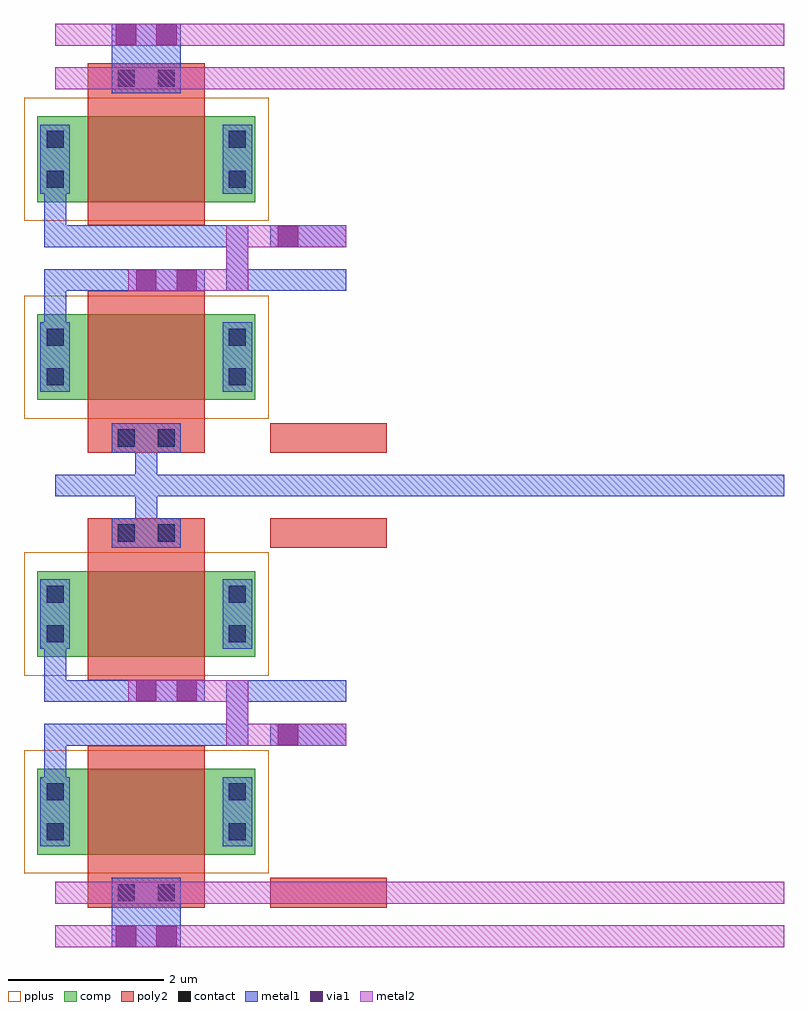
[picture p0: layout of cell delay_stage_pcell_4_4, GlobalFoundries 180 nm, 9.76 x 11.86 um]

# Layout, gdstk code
import gdstk
lib = gdstk.Library(unit=1e-6, precision=5e-09)
def R(c, l, rs):  # rectangles x0, y0, x1, y1
    for r in rs: c.add(gdstk.rectangle(r[:2], r[2:], *l))
comp = (22, 0)
poly2 = (30, 0)
pplus = (31, 0)
contact = (33, 0)
metal1 = (34, 0)
via1 = (35, 0)
metal2 = (36, 0)

delay_stage_pcell_1_1 = lib.new_cell('delay_stage_pcell_1$1')
R(delay_stage_pcell_1_1, comp, [(0.17,0.3,0.63,1.4), (0.63,0.3,2.51,1.4), (2.51,0.3,2.97,1.4)])
R(delay_stage_pcell_1_1, poly2, [(0.82,0,2.32,1.7)])
R(delay_stage_pcell_1_1, pplus, [(0,0.06,3.14,1.64)])
R(delay_stage_pcell_1_1, contact, [(0.29,0.485,0.51,0.705), (2.63,0.485,2.85,0.705), (0.29,0.995,0.51,1.215), (2.63,0.995,2.85,1.215)])
R(delay_stage_pcell_1_1, metal1, [(0.21,0.405,0.59,1.295), (2.55,0.405,2.93,1.295)])

delay_stage_pcell_4_4 = lib.new_cell('delay_stage_pcell_4_4')
R(delay_stage_pcell_4_4, poly2, [(0.82,0.51,2.32,0.89), (0.82,0.51,2.32,0.89), (3.16,0.51,4.66,0.89), (3.16,0.51,4.66,0.89), (0.82,5.13,2.32,5.51), (0.82,5.13,2.32,5.51), (3.16,5.13,4.66,5.51), (3.16,5.13,4.66,5.51), (0.82,6.35,2.32,6.73), (0.82,6.35,2.32,6.73), (3.16,6.35,4.66,6.73), (3.16,6.35,4.66,6.73), (0.82,10.97,2.32,11.35), (0.82,10.97,2.32,11.35)])
R(delay_stage_pcell_4_4, contact, [(1.205,0.59,1.425,0.81), (1.205,0.59,1.425,0.81), (1.715,0.59,1.935,0.81), (1.715,0.59,1.935,0.81), (1.205,5.21,1.425,5.43), (1.205,5.21,1.425,5.43), (1.715,5.21,1.935,5.43), (1.715,5.21,1.935,5.43), (1.205,6.43,1.425,6.65), (1.205,6.43,1.425,6.65), (1.715,6.43,1.935,6.65), (1.715,6.43,1.935,6.65), (1.205,11.05,1.425,11.27), (1.205,11.05,1.425,11.27), (1.715,11.05,1.935,11.27), (1.715,11.05,1.935,11.27)])
R(delay_stage_pcell_4_4, metal1, [(1.125,0,2.015,0.89), (1.125,0,2.015,0.89), (1.125,5.13,2.015,5.51), (1.125,6.35,2.015,6.73), (1.125,6.35,2.015,6.73), (1.125,10.97,2.015,11.86), (1.125,10.97,2.015,11.86)])
R(delay_stage_pcell_4_4, via1, [(1.18,0.01,1.44,0.27), (1.18,0.01,1.44,0.27), (1.7,0.01,1.96,0.27), (1.7,0.01,1.96,0.27), (3.26,2.6,3.52,2.86), (3.26,2.6,3.52,2.86), (1.44,3.16,1.7,3.42), (1.44,3.16,1.7,3.42), (1.96,3.16,2.22,3.42), (1.96,3.16,2.22,3.42), (1.44,8.44,1.7,8.7), (1.44,8.44,1.7,8.7), (1.96,8.44,2.22,8.7), (1.96,8.44,2.22,8.7), (3.26,9,3.52,9.26), (3.26,9,3.52,9.26), (1.18,11.59,1.44,11.85), (1.18,11.59,1.44,11.85), (1.7,11.59,1.96,11.85), (1.7,11.59,1.96,11.85)])
delay_stage_pcell_4_4.add(gdstk.FlexPath([(0.4,2.185),(0.4,2.73),(1.34,2.73)], 0.28, ends="flush", simple_path=True, layer=34, datatype=0))  # metal1
delay_stage_pcell_4_4.add(gdstk.FlexPath([(0.4,2.185),(0.4,2.73),(1.34,2.73)], 0.28, ends="flush", simple_path=True, layer=34, datatype=0))  # metal1
delay_stage_pcell_4_4.add(gdstk.FlexPath([(1.34,2.73),(2.74,2.73),(2.74,3.29),(4.14,3.29)], 0.28, ends="flush", simple_path=True, layer=34, datatype=0))  # metal1
delay_stage_pcell_4_4.add(gdstk.FlexPath([(1.34,2.73),(2.74,2.73),(2.74,3.29),(4.14,3.29)], 0.28, ends="flush", simple_path=True, layer=34, datatype=0))  # metal1
delay_stage_pcell_4_4.add(gdstk.FlexPath([(3.16,2.73),(4.14,2.73)], 0.28, ends="flush", simple_path=True, layer=34, datatype=0))  # metal1
delay_stage_pcell_4_4.add(gdstk.FlexPath([(3.16,2.73),(4.14,2.73)], 0.28, ends="flush", simple_path=True, layer=34, datatype=0))  # metal1
delay_stage_pcell_4_4.add(gdstk.FlexPath([(1.34,3.29),(2.32,3.29)], 0.28, ends="flush", simple_path=True, layer=34, datatype=0))  # metal1
delay_stage_pcell_4_4.add(gdstk.FlexPath([(1.34,3.29),(2.32,3.29)], 0.28, ends="flush", simple_path=True, layer=34, datatype=0))  # metal1
delay_stage_pcell_4_4.add(gdstk.FlexPath([(0.4,3.835),(0.4,3.29),(1.34,3.29)], 0.28, ends="flush", simple_path=True, layer=34, datatype=0))  # metal1
delay_stage_pcell_4_4.add(gdstk.FlexPath([(0.4,3.835),(0.4,3.29),(1.34,3.29)], 0.28, ends="flush", simple_path=True, layer=34, datatype=0))  # metal1
delay_stage_pcell_4_4.add(gdstk.FlexPath([(0.4,5.93),(9.76,5.93)], 0.28, ends="flush", simple_path=True, layer=34, datatype=0))  # metal1
delay_stage_pcell_4_4.add(gdstk.FlexPath([(0.4,8.025),(0.4,8.57),(1.34,8.57)], 0.28, ends="flush", simple_path=True, layer=34, datatype=0))  # metal1
delay_stage_pcell_4_4.add(gdstk.FlexPath([(0.4,9.675),(0.4,9.13),(1.34,9.13)], 0.28, ends="flush", simple_path=True, layer=34, datatype=0))  # metal1
delay_stage_pcell_4_4.add(gdstk.FlexPath([(1.34,9.13),(2.74,9.13),(2.74,8.57),(4.14,8.57)], 0.28, ends="flush", simple_path=True, layer=34, datatype=0))  # metal1
delay_stage_pcell_4_4.add(gdstk.FlexPath([(1.34,8.57),(2.32,8.57)], 0.28, ends="flush", simple_path=True, layer=34, datatype=0))  # metal1
delay_stage_pcell_4_4.add(gdstk.FlexPath([(3.16,9.13),(4.14,9.13)], 0.28, ends="flush", simple_path=True, layer=34, datatype=0))  # metal1
delay_stage_pcell_4_4.add(gdstk.FlexPath([(3.16,9.13),(4.14,9.13)], 0.28, ends="flush", simple_path=True, layer=34, datatype=0))  # metal1
delay_stage_pcell_4_4.add(gdstk.FlexPath([(1.34,8.57),(2.32,8.57)], 0.28, ends="flush", simple_path=True, layer=34, datatype=0))  # metal1
delay_stage_pcell_4_4.add(gdstk.FlexPath([(1.34,9.13),(2.74,9.13),(2.74,8.57),(4.14,8.57)], 0.28, ends="flush", simple_path=True, layer=34, datatype=0))  # metal1
delay_stage_pcell_4_4.add(gdstk.FlexPath([(0.4,9.675),(0.4,9.13),(1.34,9.13)], 0.28, ends="flush", simple_path=True, layer=34, datatype=0))  # metal1
delay_stage_pcell_4_4.add(gdstk.FlexPath([(0.4,8.025),(0.4,8.57),(1.34,8.57)], 0.28, ends="flush", simple_path=True, layer=34, datatype=0))  # metal1
delay_stage_pcell_4_4.add(gdstk.FlexPath([(1.57,5.51),(1.57,5.79)], 0.28, ends="flush", simple_path=True, layer=34, datatype=0))  # metal1
delay_stage_pcell_4_4.add(gdstk.FlexPath([(1.57,6.35),(1.57,6.07)], 0.28, ends="flush", simple_path=True, layer=34, datatype=0))  # metal1
delay_stage_pcell_4_4.add(gdstk.FlexPath([(1.12,0.14),(9.76,0.14)], 0.28, ends="flush", simple_path=True, layer=36, datatype=0))  # metal2
delay_stage_pcell_4_4.add(gdstk.FlexPath([(0.4,0.14),(9.76,0.14)], 0.28, ends="flush", simple_path=True, layer=36, datatype=0))  # metal2
delay_stage_pcell_4_4.add(gdstk.FlexPath([(1.125,0.7),(9.76,0.7)], 0.28, ends="flush", simple_path=True, layer=36, datatype=0))  # metal2
delay_stage_pcell_4_4.add(gdstk.FlexPath([(0.4,0.7),(9.76,0.7)], 0.28, ends="flush", simple_path=True, layer=36, datatype=0))  # metal2
delay_stage_pcell_4_4.add(gdstk.FlexPath([(1.34,3.29),(2.74,3.29),(2.74,2.73),(4.14,2.73)], 0.28, ends="flush", simple_path=True, layer=36, datatype=0))  # metal2
delay_stage_pcell_4_4.add(gdstk.FlexPath([(1.34,3.29),(2.74,3.29),(2.74,2.73),(4.14,2.73)], 0.28, ends="flush", simple_path=True, layer=36, datatype=0))  # metal2
delay_stage_pcell_4_4.add(gdstk.FlexPath([(1.125,11.16),(9.76,11.16)], 0.28, ends="flush", simple_path=True, layer=36, datatype=0))  # metal2
delay_stage_pcell_4_4.add(gdstk.FlexPath([(1.12,11.72),(9.76,11.72)], 0.28, ends="flush", simple_path=True, layer=36, datatype=0))  # metal2
delay_stage_pcell_4_4.add(gdstk.FlexPath([(1.34,8.57),(2.74,8.57),(2.74,9.13),(4.14,9.13)], 0.28, ends="flush", simple_path=True, layer=36, datatype=0))  # metal2
delay_stage_pcell_4_4.add(gdstk.FlexPath([(1.34,8.57),(2.74,8.57),(2.74,9.13),(4.14,9.13)], 0.28, ends="flush", simple_path=True, layer=36, datatype=0))  # metal2
delay_stage_pcell_4_4.add(gdstk.FlexPath([(0.4,11.72),(9.76,11.72)], 0.28, ends="flush", simple_path=True, layer=36, datatype=0))  # metal2
delay_stage_pcell_4_4.add(gdstk.FlexPath([(0.4,11.16),(9.76,11.16)], 0.28, ends="flush", simple_path=True, layer=36, datatype=0))  # metal2
delay_stage_pcell_4_4.add(gdstk.Reference(delay_stage_pcell_1_1, (0,2.59), x_reflection=True))
delay_stage_pcell_4_4.add(gdstk.Reference(delay_stage_pcell_1_1, (0,8.43), x_reflection=True))
delay_stage_pcell_4_4.add(gdstk.Reference(delay_stage_pcell_1_1, (0,9.27)))
delay_stage_pcell_4_4.add(gdstk.Reference(delay_stage_pcell_1_1, (0,3.43)))

lib.write_gds('delay_stage_pcell_4_4.gds')
